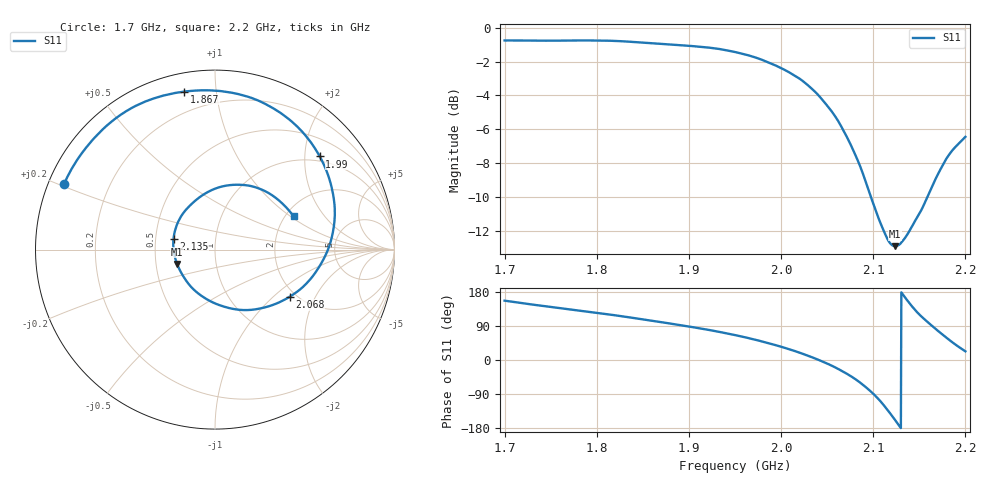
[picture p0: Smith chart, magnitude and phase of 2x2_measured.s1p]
# Hz S RI R 50
! CMT, CMT808U, 21440046, 21.4.3/4
! Date: 12/1/2025 10:43:35 AM
! Data: Format (Calibration Info)
! Freq	S11:Re/Im(F2)
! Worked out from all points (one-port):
!   1001 points, 1.7 GHz to 2.2 GHz, reference 50 ohm
!   lowest |S11| = -12.9 dB at 2.124 GHz (marker M1), VSWR 1.58, Z = 32.2 - j5.42 ohm
!   |S11| at or under -10 dB: 2.097 GHz to 2.159 GHz (61.49 MHz wide, 2.89 % of centre)
!   S11 on the Smith chart (normalised r, x): 1.7 GHz: 0.05, +0.21; 1.867 GHz: 0.09, +0.82; 1.99 GHz: 0.88, +2.34; 2.068 GHz: 1.85, -1.28; 2.135 GHz: 0.62, +0.08; 2.2 GHz: 2.21, +1.06
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1.7e9  -0.8414 0.3643
1.7625e9  -0.6615 0.6336
1.7955e9  -0.5402 0.7408
1.825e9  -0.403 0.8189
1.867e9  -0.1705 0.8807
1.8875e9  -0.0502 0.8876
1.922e9  0.1639 0.8576
1.95e9  0.3474 0.7731
1.97e9  0.4743 0.6692
1.9905e9  0.5836 0.5192
2.0125e9  0.6566 0.3143
2.0265e9  0.6659 0.1623
2.0405e9  0.6315 0.0051
2.055e9  0.546 -0.1464
2.0685e9  0.4158 -0.2628
2.075e9  0.3393 -0.3017
2.087e9  0.1793 -0.3369
2.0985e9  0.0241 -0.3091
2.1125e9  -0.133 -0.2079
2.124e9  -0.2113 -0.0798
2.1345e9  -0.2309 0.0614
2.1375e9  -0.2237 0.1021
2.1535e9  -0.1105 0.2721
2.163e9  -0.0102 0.3351
2.1705e9  0.0873 0.3597
2.183e9  0.2607 0.3341
2.192e9  0.3664 0.2649
2.2e9  0.4383 0.1849
